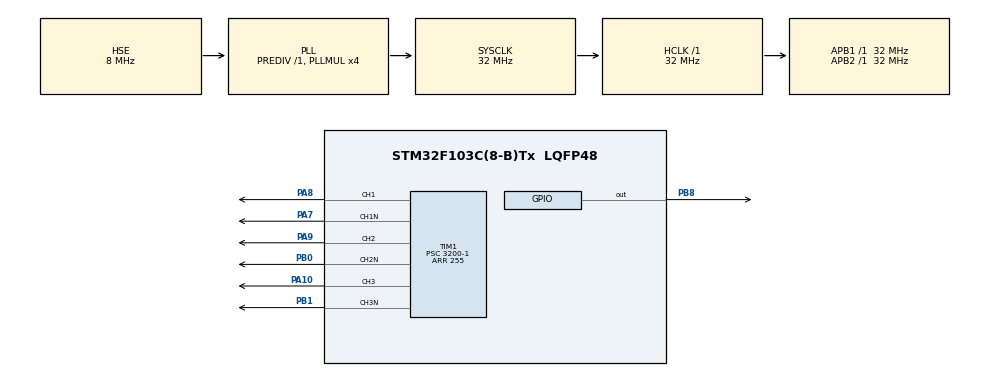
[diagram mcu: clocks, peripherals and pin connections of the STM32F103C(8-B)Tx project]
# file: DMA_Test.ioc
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Dma.Request0=TIM3_CH4/UP
Dma.Request1=TIM1_UP
Dma.TIM1_UP.1.Direction=DMA_PERIPH_TO_MEMORY
Dma.TIM1_UP.1.Instance=DMA1_Channel5
Dma.TIM1_UP.1.MemDataAlignment=DMA_MDATAALIGN_HALFWORD
Dma.TIM1_UP.1.MemInc=DMA_MINC_ENABLE
Dma.TIM1_UP.1.Mode=DMA_NORMAL
Dma.TIM1_UP.1.PeriphDataAlignment=DMA_PDATAALIGN_HALFWORD
Dma.TIM1_UP.1.PeriphInc=DMA_PINC_DISABLE
Dma.TIM1_UP.1.Priority=DMA_PRIORITY_LOW
Dma.TIM3_CH4/UP.0.Direction=DMA_MEMORY_TO_PERIPH
Dma.TIM3_CH4/UP.0.Instance=DMA1_Channel3
Dma.TIM3_CH4/UP.0.MemDataAlignment=DMA_MDATAALIGN_BYTE
Dma.TIM3_CH4/UP.0.MemInc=DMA_MINC_ENABLE
Dma.TIM3_CH4/UP.0.Mode=DMA_CIRCULAR
Dma.TIM3_CH4/UP.0.PeriphDataAlignment=DMA_PDATAALIGN_HALFWORD
Dma.TIM3_CH4/UP.0.PeriphInc=DMA_PINC_DISABLE
Dma.TIM3_CH4/UP.0.Priority=DMA_PRIORITY_VERY_HIGH
Mcu.Family=STM32F1
Mcu.Name=STM32F103C(8-B)Tx
Mcu.Package=LQFP48
NVIC.DMA1_Channel3_IRQn=true\:0\:0\:false\:false\:true
NVIC.DMA1_Channel5_IRQn=true\:0\:0\:false\:false\:true
NVIC.PriorityGroup=NVIC_PRIORITYGROUP_4
PA10.Signal=S_TIM1_CH3
PA7.Mode=PWM Generation1 CH1 CH1N
PA7.Signal=TIM1_CH1N
PA8.Signal=S_TIM1_CH1
PA9.Signal=S_TIM1_CH2
PB0.Mode=PWM Generation2 CH2 CH2N
PB0.Signal=TIM1_CH2N
PB1.Mode=PWM Generation3 CH3 CH3N
PB1.Signal=TIM1_CH3N
PB8.Signal=GPIO_Output
PD0-OSC_IN.Mode=HSE-External-Oscillator
PD0-OSC_IN.Signal=RCC_OSC_IN
PD1-OSC_OUT.Mode=HSE-External-Oscillator
PD1-OSC_OUT.Signal=RCC_OSC_OUT
ProjectManager.HeapSize=0x200
ProjectManager.StackSize=0x400
ProjectManager.TargetToolchain=SW4STM32
RCC.AHBFreq_Value=32000000
RCC.APB1Freq_Value=32000000
RCC.APB1TimFreq_Value=32000000
RCC.APB2Freq_Value=32000000
RCC.APB2TimFreq_Value=32000000
RCC.HCLKFreq_Value=32000000
RCC.PLLMUL=RCC_PLL_MUL4
RCC.PLLSourceVirtual=RCC_PLLSOURCE_HSE
RCC.SYSCLKFreq_VALUE=32000000
RCC.SYSCLKSource=RCC_SYSCLKSOURCE_PLLCLK
RCC.USBFreq_Value=32000000
SH.S_TIM1_CH1.0=TIM1_CH1,PWM Generation1 CH1 CH1N
SH.S_TIM1_CH2.0=TIM1_CH2,PWM Generation2 CH2 CH2N
SH.S_TIM1_CH3.0=TIM1_CH3,PWM Generation3 CH3 CH3N
TIM1.Channel-PWM\ Generation1\ CH1\ CH1N=TIM_CHANNEL_1
TIM1.Channel-PWM\ Generation2\ CH2\ CH2N=TIM_CHANNEL_2
TIM1.Channel-PWM\ Generation3\ CH3\ CH3N=TIM_CHANNEL_3
TIM1.Period=255
TIM1.Prescaler=3200-1
TIM3.Period=32
TIM3.Prescaler=1000-1
VP_SYS_VS_ND.Mode=No_Debug
VP_TIM1_VS_ClockSourceINT.Mode=Internal
VP_TIM3_VS_ClockSourceINT.Mode=Internal
board=DMA_Test

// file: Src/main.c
/**
 ******************************************************************************
 * File Name          : main.c
 * Description        : Main program body
 ******************************************************************************
 ** This notice applies to any and all portions of this file
 * that are not between comment pairs USER CODE BEGIN and
 * USER CODE END. Other portions of this file, whether
 * inserted by the user or by software development tools
 * are owned by their respective copyright owners.
 *
 * COPYRIGHT(c) 2017 STMicroelectronics
 *
 * Redistribution and use in source and binary forms, with or without modification,
 * are permitted provided that the following conditions are met:
 *   1. Redistributions of source code must retain the above copyright notice,
 *      this list of conditions and the following disclaimer.
 *   2. Redistributions in binary form must reproduce the above copyright notice,
 *      this list of conditions and the following disclaimer in the documentation
 *      and/or other materials provided with the distribution.
 *   3. Neither the name of STMicroelectronics nor the names of its contributors
 *      may be used to endorse or promote products derived from this software
 *      without specific prior written permission.
 *
 * THIS SOFTWARE IS PROVIDED BY THE COPYRIGHT HOLDERS AND CONTRIBUTORS "AS IS"
 * AND ANY EXPRESS OR IMPLIED WARRANTIES, INCLUDING, BUT NOT LIMITED TO, THE
 * IMPLIED WARRANTIES OF MERCHANTABILITY AND FITNESS FOR A PARTICULAR PURPOSE ARE
 * DISCLAIMED. IN NO EVENT SHALL THE COPYRIGHT HOLDER OR CONTRIBUTORS BE LIABLE
 * FOR ANY DIRECT, INDIRECT, INCIDENTAL, SPECIAL, EXEMPLARY, OR CONSEQUENTIAL
 * DAMAGES (INCLUDING, BUT NOT LIMITED TO, PROCUREMENT OF SUBSTITUTE GOODS OR
 * SERVICES; LOSS OF USE, DATA, OR PROFITS; OR BUSINESS INTERRUPTION) HOWEVER
 * CAUSED AND ON ANY THEORY OF LIABILITY, WHETHER IN CONTRACT, STRICT LIABILITY,
 * OR TORT (INCLUDING NEGLIGENCE OR OTHERWISE) ARISING IN ANY WAY OUT OF THE USE
 * OF THIS SOFTWARE, EVEN IF ADVISED OF THE POSSIBILITY OF SUCH DAMAGE.
 *
 ******************************************************************************
 */
#include "main.h"
#include "stm32f1xx_hal.h"

/* USER CODE BEGIN Includes */
#define SINTBLSTEPS 360

unsigned char sintbl[3 * SINTBLSTEPS] = { 0x80, 0xEE, 0x11, 0x82, 0xED, 0x10,
		0x84, 0xEC, 0x0F, 0x86, 0xEA, 0x0E, 0x88, 0xE9, 0x0D, 0x8B, 0xE8, 0x0C,
		0x8D, 0xE7, 0x0B, 0x8F, 0xE5, 0x0A, 0x91, 0xE4, 0x09, 0x94, 0xE3, 0x08,
		0x96, 0xE1, 0x08, 0x98, 0xE0, 0x07, 0x9A, 0xDE, 0x06, 0x9C, 0xDD, 0x06,
		0x9E, 0xDB, 0x05, 0xA1, 0xDA, 0x04, 0xA3, 0xD8, 0x04, 0xA5, 0xD6, 0x03,
		0xA7, 0xD5, 0x03, 0xA9, 0xD3, 0x02, 0xAB, 0xD1, 0x02, 0xAD, 0xD0, 0x02,
		0xAF, 0xCE, 0x01, 0xB1, 0xCC, 0x01, 0xB3, 0xCA, 0x01, 0xB6, 0xC9, 0x00,
		0xB8, 0xC7, 0x00, 0xBA, 0xC5, 0x00, 0xBC, 0xC3, 0x00, 0xBD, 0xC1, 0x00,
		0xBF, 0xBF, 0x00, 0xC1, 0xBD, 0x00, 0xC3, 0xBB, 0x00, 0xC5, 0xB9, 0x00,
		0xC7, 0xB7, 0x00, 0xC9, 0xB5, 0x01, 0xCB, 0xB3, 0x01, 0xCC, 0xB1, 0x01,
		0xCE, 0xAF, 0x01, 0xD0, 0xAD, 0x02, 0xD2, 0xAB, 0x02, 0xD3, 0xA9, 0x02,
		0xD5, 0xA7, 0x03, 0xD7, 0xA5, 0x03, 0xD8, 0xA2, 0x04, 0xDA, 0xA0, 0x04,
		0xDB, 0x9E, 0x05, 0xDD, 0x9C, 0x06, 0xDE, 0x9A, 0x06, 0xE0, 0x98, 0x07,
		0xE1, 0x95, 0x08, 0xE3, 0x93, 0x09, 0xE4, 0x91, 0x09, 0xE6, 0x8F, 0x0A,
		0xE7, 0x8C, 0x0B, 0xE8, 0x8A, 0x0C, 0xE9, 0x88, 0x0D, 0xEB, 0x86, 0x0E,
		0xEC, 0x84, 0x0F, 0xED, 0x81, 0x10, 0xEE, 0x7F, 0x11, 0xEF, 0x7D, 0x12,
		0xF0, 0x7B, 0x14, 0xF1, 0x78, 0x15, 0xF2, 0x76, 0x16, 0xF3, 0x74, 0x17,
		0xF4, 0x72, 0x19, 0xF5, 0x70, 0x1A, 0xF6, 0x6D, 0x1B, 0xF7, 0x6B, 0x1D,
		0xF7, 0x69, 0x1E, 0xF8, 0x67, 0x20, 0xF9, 0x65, 0x21, 0xFA, 0x62, 0x23,
		0xFA, 0x60, 0x24, 0xFB, 0x5E, 0x26, 0xFB, 0x5C, 0x27, 0xFC, 0x5A, 0x29,
		0xFC, 0x58, 0x2B, 0xFD, 0x56, 0x2C, 0xFD, 0x53, 0x2E, 0xFE, 0x51, 0x30,
		0xFE, 0x4F, 0x31, 0xFE, 0x4D, 0x33, 0xFE, 0x4B, 0x35, 0xFF, 0x49, 0x37,
		0xFF, 0x47, 0x39, 0xFF, 0x45, 0x3B, 0xFF, 0x43, 0x3C, 0xFF, 0x41, 0x3E,
		0xFF, 0x3F, 0x40, 0xFF, 0x3D, 0x42, 0xFF, 0x3B, 0x44, 0xFF, 0x3A, 0x46,
		0xFF, 0x38, 0x48, 0xFE, 0x36, 0x4A, 0xFE, 0x34, 0x4C, 0xFE, 0x32, 0x4E,
		0xFE, 0x31, 0x50, 0xFD, 0x2F, 0x52, 0xFD, 0x2D, 0x54, 0xFD, 0x2B, 0x57,
		0xFC, 0x2A, 0x59, 0xFC, 0x28, 0x5B, 0xFB, 0x26, 0x5D, 0xFA, 0x25, 0x5F,
		0xFA, 0x23, 0x61, 0xF9, 0x22, 0x63, 0xF9, 0x20, 0x66, 0xF8, 0x1F, 0x68,
		0xF7, 0x1D, 0x6A, 0xF6, 0x1C, 0x6C, 0xF5, 0x1B, 0x6E, 0xF5, 0x19, 0x71,
		0xF4, 0x18, 0x73, 0xF3, 0x17, 0x75, 0xF2, 0x15, 0x77, 0xF1, 0x14, 0x7A,
		0xF0, 0x13, 0x7C, 0xEF, 0x12, 0x7E, 0xEE, 0x11, 0x80, 0xEC, 0x10, 0x82,
		0xEB, 0x0F, 0x85, 0xEA, 0x0E, 0x87, 0xE9, 0x0D, 0x89, 0xE7, 0x0C, 0x8B,
		0xE6, 0x0B, 0x8E, 0xE5, 0x0A, 0x90, 0xE3, 0x09, 0x92, 0xE2, 0x08, 0x94,
		0xE1, 0x07, 0x96, 0xDF, 0x07, 0x99, 0xDE, 0x06, 0x9B, 0xDC, 0x05, 0x9D,
		0xDB, 0x05, 0x9F, 0xD9, 0x04, 0xA1, 0xD7, 0x04, 0xA3, 0xD6, 0x03, 0xA6,
		0xD4, 0x03, 0xA8, 0xD2, 0x02, 0xAA, 0xD1, 0x02, 0xAC, 0xCF, 0x01, 0xAE,
		0xCD, 0x01, 0xB0, 0xCC, 0x01, 0xB2, 0xCA, 0x01, 0xB4, 0xC8, 0x00, 0xB6,
		0xC6, 0x00, 0xB8, 0xC4, 0x00, 0xBA, 0xC2, 0x00, 0xBC, 0xC0, 0x00, 0xBE,
		0xBE, 0x00, 0xC0, 0xBC, 0x00, 0xC2, 0xBB, 0x00, 0xC4, 0xB9, 0x00, 0xC6,
		0xB7, 0x00, 0xC8, 0xB5, 0x01, 0xC9, 0xB2, 0x01, 0xCB, 0xB0, 0x01, 0xCD,
		0xAE, 0x01, 0xCF, 0xAC, 0x02, 0xD1, 0xAA, 0x02, 0xD2, 0xA8, 0x03, 0xD4,
		0xA6, 0x03, 0xD6, 0xA4, 0x03, 0xD7, 0xA2, 0x04, 0xD9, 0xA0, 0x05, 0xDA,
		0x9D, 0x05, 0xDC, 0x9B, 0x06, 0xDD, 0x99, 0x07, 0xDF, 0x97, 0x07, 0xE0,
		0x95, 0x08, 0xE2, 0x92, 0x09, 0xE3, 0x90, 0x0A, 0xE5, 0x8E, 0x0B, 0xE6,
		0x8C, 0x0B, 0xE7, 0x8A, 0x0C, 0xE9, 0x87, 0x0D, 0xEA, 0x85, 0x0E, 0xEB,
		0x83, 0x0F, 0xEC, 0x81, 0x11, 0xED, 0x7E, 0x12, 0xEE, 0x7C, 0x13, 0xF0,
		0x7A, 0x14, 0xF1, 0x78, 0x15, 0xF2, 0x75, 0x16, 0xF3, 0x73, 0x18, 0xF4,
		0x71, 0x19, 0xF4, 0x6F, 0x1A, 0xF5, 0x6D, 0x1C, 0xF6, 0x6A, 0x1D, 0xF7,
		0x68, 0x1F, 0xF8, 0x66, 0x20, 0xF8, 0x64, 0x22, 0xF9, 0x62, 0x23, 0xFA,
		0x5F, 0x25, 0xFA, 0x5D, 0x26, 0xFB, 0x5B, 0x28, 0xFC, 0x59, 0x29, 0xFC,
		0x57, 0x2B, 0xFC, 0x55, 0x2D, 0xFD, 0x53, 0x2E, 0xFD, 0x51, 0x30, 0xFE,
		0x4F, 0x32, 0xFE, 0x4D, 0x34, 0xFE, 0x4A, 0x36, 0xFE, 0x48, 0x37, 0xFF,
		0x46, 0x39, 0xFF, 0x44, 0x3B, 0xFF, 0x43, 0x3D, 0xFF, 0x41, 0x3F, 0xFF,
		0x3F, 0x41, 0xFF, 0x3D, 0x43, 0xFF, 0x3B, 0x45, 0xFF, 0x39, 0x47, 0xFF,
		0x37, 0x49, 0xFF, 0x35, 0x4B, 0xFE, 0x33, 0x4D, 0xFE, 0x32, 0x4F, 0xFE,
		0x30, 0x51, 0xFE, 0x2E, 0x53, 0xFD, 0x2D, 0x55, 0xFD, 0x2B, 0x57, 0xFC,
		0x29, 0x59, 0xFC, 0x28, 0x5C, 0xFB, 0x26, 0x5E, 0xFB, 0x24, 0x60, 0xFA,
		0x23, 0x62, 0xFA, 0x21, 0x64, 0xF9, 0x20, 0x66, 0xF8, 0x1E, 0x69, 0xF8,
		0x1D, 0x6B, 0xF7, 0x1C, 0x6D, 0xF6, 0x1A, 0x6F, 0xF5, 0x19, 0x71, 0xF4,
		0x18, 0x74, 0xF3, 0x16, 0x76, 0xF2, 0x15, 0x78, 0xF1, 0x14, 0x7A, 0xF0,
		0x13, 0x7D, 0xEF, 0x11, 0x7F, 0xEE, 0x10, 0x81, 0xED, 0x0F, 0x83, 0xEC,
		0x0E, 0x85, 0xEB, 0x0D, 0x88, 0xEA, 0x0C, 0x8A, 0xE8, 0x0B, 0x8C, 0xE7,
		0x0A, 0x8E, 0xE6, 0x0A, 0x91, 0xE4, 0x09, 0x93, 0xE3, 0x08, 0x95, 0xE2,
		0x07, 0x97, 0xE0, 0x06, 0x99, 0xDF, 0x06, 0x9C, 0xDD, 0x05, 0x9E, 0xDC,
		0x05, 0xA0, 0xDA, 0x04, 0xA2, 0xD9, 0x03, 0xA4, 0xD7, 0x03, 0xA6, 0xD5,
		0x02, 0xA8, 0xD4, 0x02, 0xAB, 0xD2, 0x02, 0xAD, 0xD0, 0x01, 0xAF, 0xCE,
		0x01, 0xB1, 0xCD, 0x01, 0xB3, 0xCB, 0x01, 0xB5, 0xC9, 0x00, 0xB7, 0xC7,
		0x00, 0xB9, 0xC5, 0x00, 0xBB, 0xC4, 0x00, 0xBD, 0xC2, 0x00, 0xBF, 0xC0,
		0x00, 0xC1, 0xBE, 0x00, 0xC3, 0xBC, 0x00, 0xC4, 0xBA, 0x00, 0xC6, 0xB8,
		0x00, 0xC8, 0xB6, 0x01, 0xCA, 0xB4, 0x01, 0xCC, 0xB2, 0x01, 0xCE, 0xB0,
		0x01, 0xCF, 0xAE, 0x02, 0xD1, 0xAC, 0x02, 0xD3, 0xA9, 0x03, 0xD4, 0xA7,
		0x03, 0xD6, 0xA5, 0x04, 0xD8, 0xA3, 0x04, 0xD9, 0xA1, 0x05, 0xDB, 0x9F,
		0x05, 0xDC, 0x9D, 0x06, 0xDE, 0x9A, 0x07, 0xDF, 0x98, 0x08, 0xE1, 0x96,
		0x08, 0xE2, 0x94, 0x09, 0xE4, 0x92, 0x0A, 0xE5, 0x8F, 0x0B, 0xE6, 0x8D,
		0x0C, 0xE8, 0x8B, 0x0D, 0xE9, 0x89, 0x0E, 0xEA, 0x87, 0x0F, 0xEB, 0x84,
		0x10, 0xED, 0x82, 0x11, 0xEE, 0x80, 0x12, 0xEF, 0x7E, 0x13, 0xF0, 0x7B,
		0x14, 0xF1, 0x79, 0x16, 0xF2, 0x77, 0x17, 0xF3, 0x75, 0x18, 0xF4, 0x73,
		0x19, 0xF5, 0x70, 0x1B, 0xF6, 0x6E, 0x1C, 0xF6, 0x6C, 0x1E, 0xF7, 0x6A,
		0x1F, 0xF8, 0x67, 0x21, 0xF9, 0x65, 0x22, 0xF9, 0x63, 0x24, 0xFA, 0x61,
		0x25, 0xFB, 0x5F, 0x27, 0xFB, 0x5D, 0x28, 0xFC, 0x5A, 0x2A, 0xFC, 0x58,
		0x2C, 0xFD, 0x56, 0x2D, 0xFD, 0x54, 0x2F, 0xFD, 0x52, 0x31, 0xFE, 0x50,
		0x33, 0xFE, 0x4E, 0x34, 0xFE, 0x4C, 0x36, 0xFE, 0x4A, 0x38, 0xFF, 0x48,
		0x3A, 0xFF, 0x46, 0x3C, 0xFF, 0x44, 0x3E, 0xFF, 0x42, 0x40, 0xFF, 0x40,
		0x42, 0xFF, 0x3E, 0x43, 0xFF, 0x3C, 0x45, 0xFF, 0x3A, 0x47, 0xFF, 0x38,
		0x49, 0xFF, 0x36, 0x4C, 0xFE, 0x35, 0x4E, 0xFE, 0x33, 0x50, 0xFE, 0x31,
		0x52, 0xFD, 0x2F, 0x54, 0xFD, 0x2E, 0x56, 0xFD, 0x2C, 0x58, 0xFC, 0x2A,
		0x5A, 0xFC, 0x29, 0x5C, 0xFB, 0x27, 0x5E, 0xFB, 0x25, 0x61, 0xFA, 0x24,
		0x63, 0xF9, 0x22, 0x65, 0xF9, 0x21, 0x67, 0xF8, 0x1F, 0x69, 0xF7, 0x1E,
		0x6B, 0xF7, 0x1C, 0x6E, 0xF6, 0x1B, 0x70, 0xF5, 0x1A, 0x72, 0xF4, 0x18,
		0x74, 0xF3, 0x17, 0x77, 0xF2, 0x16, 0x79, 0xF1, 0x15, 0x7B, 0xF0, 0x13,
		0x7D, 0xEF, 0x12, 0x7F, 0xEE, 0x11 };

/* USER CODE END Includes */

TIM_HandleTypeDef htim1;
TIM_HandleTypeDef htim3;
DMA_HandleTypeDef hdma_tim1_up;
DMA_HandleTypeDef hdma_tim3_ch4_up;

/* USER CODE BEGIN PV */
/* Private variables ---------------------------------------------------------*/

/* USER CODE END PV */

void SystemClock_Config(void);
static void MX_GPIO_Init(void);
static void MX_DMA_Init(void);
static void MX_TIM1_Init(void);
static void MX_TIM3_Init(void);
void HAL_TIM_MspPostInit(TIM_HandleTypeDef *htim);

/* USER CODE BEGIN PFP */
/* Private function prototypes -----------------------------------------------*/

/* USER CODE END PFP */

/* USER CODE BEGIN 0 */

/**
 * @brief  Configure the DMA Burst to transfer Data from the memory to the TIM peripheral
 * @param  htim : TIM handle
 * @param  BurstBaseAddress : TIM Base address from where the DMA will start the Data write
 *         This parameter can be one of the following values:
 *            @arg TIM_DMABASE_CR1
 *            @arg TIM_DMABASE_CR2
 *            @arg TIM_DMABASE_SMCR
 *            @arg TIM_DMABASE_DIER
 *            @arg TIM_DMABASE_SR
 *            @arg TIM_DMABASE_EGR
 *            @arg TIM_DMABASE_CCMR1
 *            @arg TIM_DMABASE_CCMR2
 *            @arg TIM_DMABASE_CCER
 *            @arg TIM_DMABASE_CNT
 *            @arg TIM_DMABASE_PSC
 *            @arg TIM_DMABASE_ARR
 *            @arg TIM_DMABASE_RCR
 *            @arg TIM_DMABASE_CCR1
 *            @arg TIM_DMABASE_CCR2
 *            @arg TIM_DMABASE_CCR3
 *            @arg TIM_DMABASE_CCR4
 *            @arg TIM_DMABASE_BDTR
 *            @arg TIM_DMABASE_DCR
 * @param  BurstRequestSrc : TIM DMA Request sources
 *         This parameter can be one of the following values:
 *            @arg TIM_DMA_UPDATE: TIM update Interrupt source
 *            @arg TIM_DMA_CC1: TIM Capture Compare 1 DMA source
 *            @arg TIM_DMA_CC2: TIM Capture Compare 2 DMA source
 *            @arg TIM_DMA_CC3: TIM Capture Compare 3 DMA source
 *            @arg TIM_DMA_CC4: TIM Capture Compare 4 DMA source
 *            @arg TIM_DMA_COM: TIM Commutation DMA source
 *            @arg TIM_DMA_TRIGGER: TIM Trigger DMA source
 * @param  BurstBuffer : The Buffer address.
 * @param  BurstLength : DMA Burst length. This parameter can be one value
 *         between: TIM_DMABURSTLENGTH_1TRANSFER and TIM_DMABURSTLENGTH_18TRANSFERS.
 * @retval HAL status
 */
extern void TIM_DMAError(DMA_HandleTypeDef *hdma);
void TIM_DMAPeriodElapsedCplt(DMA_HandleTypeDef *hdma) {
	TIM_HandleTypeDef* htim =
			(TIM_HandleTypeDef*) ((DMA_HandleTypeDef*) hdma)->Parent;

	htim->State = HAL_TIM_STATE_READY;

	HAL_TIM_PeriodElapsedCallback(htim);
}
void TIM_DMATriggerCplt(DMA_HandleTypeDef *hdma) {

	TIM_HandleTypeDef* htim =
			(TIM_HandleTypeDef*) ((DMA_HandleTypeDef*) hdma)->Parent;

	htim->State = HAL_TIM_STATE_READY;

	HAL_TIM_TriggerCallback(htim);
}

HAL_StatusTypeDef HAL_TIM_DMABurst_WriteStart_2(TIM_HandleTypeDef *htim,
		TIM_HandleTypeDef *htim_trg, uint32_t BurstBaseAddress,
		uint32_t BurstRequestSrc, uint32_t* BurstBuffer, uint32_t BurstLength,
		uint16_t BufferLength) {
	/* Check the parameters */
	assert_param(IS_TIM_DMABURST_INSTANCE(htim->Instance));
	assert_param(IS_TIM_DMABURST_INSTANCE(htim_trg->Instance));
	assert_param(IS_TIM_DMA_BASE(BurstBaseAddress));
	assert_param(IS_TIM_DMA_SOURCE(BurstRequestSrc));
	assert_param(IS_TIM_DMA_LENGTH(BurstLength));

	if ((htim->State == HAL_TIM_STATE_BUSY)) {
		return HAL_BUSY;
	} else if ((htim->State == HAL_TIM_STATE_READY)) {
		if ((BurstBuffer == 0U) && (BurstLength > 0U)) {
			return HAL_ERROR;
		} else {
			htim->State = HAL_TIM_STATE_BUSY;
		}
	}
	switch (BurstRequestSrc) {
	case TIM_DMA_UPDATE: {
		/* Set the DMA Period elapsed callback */
		htim_trg->hdma[TIM_DMA_ID_UPDATE]->XferCpltCallback =
				TIM_DMAPeriodElapsedCplt;

		/* Set the DMA error callback */
		htim_trg->hdma[TIM_DMA_ID_UPDATE]->XferErrorCallback = TIM_DMAError;

		/* Enable the DMA channel */
		HAL_DMA_Start_IT(htim_trg->hdma[TIM_DMA_ID_UPDATE],
				(uint32_t) BurstBuffer, (uint32_t) &htim->Instance->DMAR, /*((BurstLength) >> 8U) + 1U*/
				BufferLength);
	}
		break;
	case TIM_DMA_CC1: {
		/* Set the DMA Period elapsed callback */
		htim->hdma[TIM_DMA_ID_CC1]->XferCpltCallback = TIM_DMADelayPulseCplt;

		/* Set the DMA error callback */
		htim->hdma[TIM_DMA_ID_CC1]->XferErrorCallback = TIM_DMAError;

		/* Enable the DMA channel */
		HAL_DMA_Start_IT(htim->hdma[TIM_DMA_ID_CC1], (uint32_t) BurstBuffer,
				(uint32_t) &htim->Instance->DMAR, ((BurstLength) >> 8U) + 1U);
	}
		break;
	case TIM_DMA_CC2: {
		/* Set the DMA Period elapsed callback */
		htim->hdma[TIM_DMA_ID_CC2]->XferCpltCallback = TIM_DMADelayPulseCplt;

		/* Set the DMA error callback */
		htim->hdma[TIM_DMA_ID_CC2]->XferErrorCallback = TIM_DMAError;

		/* Enable the DMA channel */
		HAL_DMA_Start_IT(htim->hdma[TIM_DMA_ID_CC2], (uint32_t) BurstBuffer,
				(uint32_t) &htim->Instance->DMAR, ((BurstLength) >> 8U) + 1U);
	}
		break;
	case TIM_DMA_CC3: {
		/* Set the DMA Period elapsed callback */
		htim->hdma[TIM_DMA_ID_CC3]->XferCpltCallback = TIM_DMADelayPulseCplt;

		/* Set the DMA error callback */
		htim->hdma[TIM_DMA_ID_CC3]->XferErrorCallback = TIM_DMAError;

		/* Enable the DMA channel */
		HAL_DMA_Start_IT(htim->hdma[TIM_DMA_ID_CC3], (uint32_t) BurstBuffer,
				(uint32_t) &htim->Instance->DMAR, ((BurstLength) >> 8U) + 1U);
	}
		break;
	case TIM_DMA_CC4: {
		/* Set the DMA Period elapsed callback */
		htim->hdma[TIM_DMA_ID_CC4]->XferCpltCallback = TIM_DMADelayPulseCplt;

		/* Set the DMA error callback */
		htim->hdma[TIM_DMA_ID_CC4]->XferErrorCallback = TIM_DMAError;

		/* Enable the DMA channel */
		HAL_DMA_Start_IT(htim->hdma[TIM_DMA_ID_CC4], (uint32_t) BurstBuffer,
				(uint32_t) &htim->Instance->DMAR, ((BurstLength) >> 8U) + 1U);
	}
		break;
	case TIM_DMA_COM: {
		/* Set the DMA Period elapsed callback */
		htim->hdma[TIM_DMA_ID_COMMUTATION]->XferCpltCallback =
				TIMEx_DMACommutationCplt;

		/* Set the DMA error callback */
		htim->hdma[TIM_DMA_ID_COMMUTATION]->XferErrorCallback = TIM_DMAError;

		/* Enable the DMA channel */
		HAL_DMA_Start_IT(htim->hdma[TIM_DMA_ID_COMMUTATION],
				(uint32_t) BurstBuffer, (uint32_t) &htim->Instance->DMAR,
				((BurstLength) >> 8U) + 1U);
	}
		break;
	case TIM_DMA_TRIGGER: {
		/* Set the DMA Period elapsed callback */
		htim->hdma[TIM_DMA_ID_TRIGGER]->XferCpltCallback = TIM_DMATriggerCplt;

		/* Set the DMA error callback */
		htim->hdma[TIM_DMA_ID_TRIGGER]->XferErrorCallback = TIM_DMAError;

		/* Enable the DMA channel */
		HAL_DMA_Start_IT(htim->hdma[TIM_DMA_ID_TRIGGER], (uint32_t) BurstBuffer,
				(uint32_t) &htim->Instance->DMAR, ((BurstLength) >> 8U) + 1U);
	}
		break;
	default:
		break;
	}
	/* configure the DMA Burst Mode */
	htim->Instance->DCR = BurstBaseAddress | BurstLength;

	/* Enable the TIM DMA Request */
	__HAL_TIM_ENABLE_DMA(htim_trg, BurstRequestSrc);

	htim->State = HAL_TIM_STATE_READY;

	/* Return function status */
	return HAL_OK;
}

/* USER CODE END 0 */

int main(void) {

	/* MCU Configuration----------------------------------------------------------*/

	/* Reset of all peripherals, Initializes the Flash interface and the Systick. */
	HAL_Init();

	/* Configure the system clock */
	SystemClock_Config();

	/* Initialize all configured peripherals */
	MX_GPIO_Init();
	MX_DMA_Init();
	MX_TIM1_Init();
	MX_TIM3_Init();

	/* USER CODE BEGIN 2 */
	HAL_TIM_Base_Start(&htim1);
//	HAL_TIM_DMABurst_WriteStart(&htim1, TIM_DMABASE_CCR1, TIM_DMA_UPDATE,
//			(uint32_t *) sintbl, TIM_DMABURSTLENGTH_3TRANSFERS);

//	HAL_TIM_Base_Start(&htim1);
	HAL_TIM_Base_Start(&htim3);
	HAL_TIM_DMABurst_WriteStart_2(&htim1, &htim3, TIM_DMABASE_CCR1,
	TIM_DMA_UPDATE, sintbl, TIM_DMABURSTLENGTH_3TRANSFERS, 3 * SINTBLSTEPS);
	HAL_Delay(1000);
	HAL_TIM_PWM_Start(&htim1, TIM_CHANNEL_1);
	__HAL_TIM_SET_COMPARE(&htim1, TIM_CHANNEL_1, 128);
	HAL_TIM_PWM_Start(&htim1, TIM_CHANNEL_2);
	__HAL_TIM_SET_COMPARE(&htim1, TIM_CHANNEL_2, 128);
	HAL_TIM_PWM_Start(&htim1, TIM_CHANNEL_3);
	__HAL_TIM_SET_COMPARE(&htim1, TIM_CHANNEL_3, 128);

	/* USER CODE END 2 */

	/* Infinite loop */
	/* USER CODE BEGIN WHILE */
	__HAL_RCC_GPIOB_CLK_ENABLE()
	;
	GPIO_InitTypeDef gpiodef;
	gpiodef.Mode = GPIO_MODE_OUTPUT_PP;
	gpiodef.Pin = GPIO_PIN_8;
	gpiodef.Pull = GPIO_NOPULL;
	gpiodef.Speed = GPIO_SPEED_FREQ_HIGH;
	HAL_GPIO_Init(GPIOB, &gpiodef);

	while (1) {
		/* USER CODE END WHILE */
		HAL_GPIO_TogglePin(GPIOB, GPIO_PIN_8);
		HAL_Delay(400);
	}

}

/** System Clock Configuration
 */
void SystemClock_Config(void) {

	RCC_OscInitTypeDef RCC_OscInitStruct;
	RCC_ClkInitTypeDef RCC_ClkInitStruct;

	/**Initializes the CPU, AHB and APB busses clocks
	 */
	RCC_OscInitStruct.OscillatorType = RCC_OSCILLATORTYPE_HSE;
	RCC_OscInitStruct.HSEState = RCC_HSE_ON;
	RCC_OscInitStruct.HSEPredivValue = RCC_HSE_PREDIV_DIV1;
	RCC_OscInitStruct.HSIState = RCC_HSI_ON;
	RCC_OscInitStruct.PLL.PLLState = RCC_PLL_ON;
	RCC_OscInitStruct.PLL.PLLSource = RCC_PLLSOURCE_HSE;
	RCC_OscInitStruct.PLL.PLLMUL = RCC_PLL_MUL4;
	if (HAL_RCC_OscConfig(&RCC_OscInitStruct) != HAL_OK) {
		_Error_Handler(__FILE__, __LINE__);
	}

	/**Initializes the CPU, AHB and APB busses clocks
	 */
	RCC_ClkInitStruct.ClockType = RCC_CLOCKTYPE_HCLK | RCC_CLOCKTYPE_SYSCLK
			| RCC_CLOCKTYPE_PCLK1 | RCC_CLOCKTYPE_PCLK2;
	RCC_ClkInitStruct.SYSCLKSource = RCC_SYSCLKSOURCE_PLLCLK;
	RCC_ClkInitStruct.AHBCLKDivider = RCC_SYSCLK_DIV1;
	RCC_ClkInitStruct.APB1CLKDivider = RCC_HCLK_DIV1;
	RCC_ClkInitStruct.APB2CLKDivider = RCC_HCLK_DIV1;

	if (HAL_RCC_ClockConfig(&RCC_ClkInitStruct, FLASH_LATENCY_1) != HAL_OK) {
		_Error_Handler(__FILE__, __LINE__);
	}

	/**Configure the Systick interrupt time
	 */
	HAL_SYSTICK_Config(HAL_RCC_GetHCLKFreq() / 1000);

	/**Configure the Systick
	 */
	HAL_SYSTICK_CLKSourceConfig(SYSTICK_CLKSOURCE_HCLK);

	/* SysTick_IRQn interrupt configuration */
	HAL_NVIC_SetPriority(SysTick_IRQn, 0, 0);
}

/* TIM1 init function */
static void MX_TIM1_Init(void) {

	TIM_ClockConfigTypeDef sClockSourceConfig;
	TIM_MasterConfigTypeDef sMasterConfig;
	TIM_OC_InitTypeDef sConfigOC;
	TIM_BreakDeadTimeConfigTypeDef sBreakDeadTimeConfig;

	htim1.Instance = TIM1;
	htim1.Init.Prescaler = 3200 - 1;
	htim1.Init.CounterMode = TIM_COUNTERMODE_UP;
	htim1.Init.Period = 255;
	htim1.Init.ClockDivision = TIM_CLOCKDIVISION_DIV1;
	htim1.Init.RepetitionCounter = 0;
	htim1.Init.AutoReloadPreload = TIM_AUTORELOAD_PRELOAD_DISABLE;
	if (HAL_TIM_Base_Init(&htim1) != HAL_OK) {
		_Error_Handler(__FILE__, __LINE__);
	}

	sClockSourceConfig.ClockSource = TIM_CLOCKSOURCE_INTERNAL;
	if (HAL_TIM_ConfigClockSource(&htim1, &sClockSourceConfig) != HAL_OK) {
		_Error_Handler(__FILE__, __LINE__);
	}

	if (HAL_TIM_PWM_Init(&htim1) != HAL_OK) {
		_Error_Handler(__FILE__, __LINE__);
	}

	sMasterConfig.MasterOutputTrigger = TIM_TRGO_RESET;
	sMasterConfig.MasterSlaveMode = TIM_MASTERSLAVEMODE_DISABLE;
	if (HAL_TIMEx_MasterConfigSynchronization(&htim1, &sMasterConfig)
			!= HAL_OK) {
		_Error_Handler(__FILE__, __LINE__);
	}

	sConfigOC.OCMode = TIM_OCMODE_PWM1;
	sConfigOC.Pulse = 0;
	sConfigOC.OCPolarity = TIM_OCPOLARITY_HIGH;
	sConfigOC.OCNPolarity = TIM_OCNPOLARITY_HIGH;
	sConfigOC.OCFastMode = TIM_OCFAST_DISABLE;
	sConfigOC.OCIdleState = TIM_OCIDLESTATE_RESET;
	sConfigOC.OCNIdleState = TIM_OCNIDLESTATE_RESET;
	if (HAL_TIM_PWM_ConfigChannel(&htim1, &sConfigOC, TIM_CHANNEL_1)
			!= HAL_OK) {
		_Error_Handler(__FILE__, __LINE__);
	}

	if (HAL_TIM_PWM_ConfigChannel(&htim1, &sConfigOC, TIM_CHANNEL_2)
			!= HAL_OK) {
		_Error_Handler(__FILE__, __LINE__);
	}

	if (HAL_TIM_PWM_ConfigChannel(&htim1, &sConfigOC, TIM_CHANNEL_3)
			!= HAL_OK) {
		_Error_Handler(__FILE__, __LINE__);
	}

	sBreakDeadTimeConfig.OffStateRunMode = TIM_OSSR_DISABLE;
	sBreakDeadTimeConfig.OffStateIDLEMode = TIM_OSSI_DISABLE;
	sBreakDeadTimeConfig.LockLevel = TIM_LOCKLEVEL_OFF;
	sBreakDeadTimeConfig.DeadTime = 0;
	sBreakDeadTimeConfig.BreakState = TIM_BREAK_DISABLE;
	sBreakDeadTimeConfig.BreakPolarity = TIM_BREAKPOLARITY_HIGH;
	sBreakDeadTimeConfig.AutomaticOutput = TIM_AUTOMATICOUTPUT_DISABLE;
	if (HAL_TIMEx_ConfigBreakDeadTime(&htim1, &sBreakDeadTimeConfig)
			!= HAL_OK) {
		_Error_Handler(__FILE__, __LINE__);
	}

	HAL_TIM_MspPostInit(&htim1);

}

/* TIM3 init function */
static void MX_TIM3_Init(void) {

	TIM_ClockConfigTypeDef sClockSourceConfig;
	TIM_MasterConfigTypeDef sMasterConfig;

	htim3.Instance = TIM3;
	htim3.Init.Prescaler = 1000 - 1;
	htim3.Init.CounterMode = TIM_COUNTERMODE_UP;
	htim3.Init.Period = 32;
	htim3.Init.ClockDivision = TIM_CLOCKDIVISION_DIV1;
	htim3.Init.AutoReloadPreload = TIM_AUTORELOAD_PRELOAD_DISABLE;
	if (HAL_TIM_Base_Init(&htim3) != HAL_OK) {
		_Error_Handler(__FILE__, __LINE__);
	}

	sClockSourceConfig.ClockSource = TIM_CLOCKSOURCE_INTERNAL;
	if (HAL_TIM_ConfigClockSource(&htim3, &sClockSourceConfig) != HAL_OK) {
		_Error_Handler(__FILE__, __LINE__);
	}

	sMasterConfig.MasterOutputTrigger = TIM_TRGO_RESET;
	sMasterConfig.MasterSlaveMode = TIM_MASTERSLAVEMODE_DISABLE;
	if (HAL_TIMEx_MasterConfigSynchronization(&htim3, &sMasterConfig)
			!= HAL_OK) {
		_Error_Handler(__FILE__, __LINE__);
	}

}

static void MX_DMA_Init(void) {
	/* DMA controller clock enable */
	__HAL_RCC_DMA1_CLK_ENABLE()
	;

	/* DMA interrupt init */
	/* DMA1_Channel3_IRQn interrupt configuration */
	HAL_NVIC_SetPriority(DMA1_Channel3_IRQn, 0, 0);
	HAL_NVIC_EnableIRQ(DMA1_Channel3_IRQn);
	/* DMA1_Channel5_IRQn interrupt configuration */
	HAL_NVIC_SetPriority(DMA1_Channel5_IRQn, 0, 0);
	HAL_NVIC_EnableIRQ(DMA1_Channel5_IRQn);

}

/** Configure pins as
 * Analog
 * Input
 * Output
 * EVENT_OUT
 * EXTI
 * Free pins are configured automatically as Analog (this feature is enabled through
 * the Code Generation settings)
 */
static void MX_GPIO_Init(void) {

	GPIO_InitTypeDef GPIO_InitStruct;

	/* GPIO Ports Clock Enable */
	__HAL_RCC_GPIOC_CLK_ENABLE()
	;
	__HAL_RCC_GPIOD_CLK_ENABLE()
	;
	__HAL_RCC_GPIOA_CLK_ENABLE()
	;
	__HAL_RCC_GPIOB_CLK_ENABLE()
	;

	/*Configure GPIO pin Output Level */
	HAL_GPIO_WritePin(GPIOB, GPIO_PIN_8, GPIO_PIN_RESET);

	/*Configure GPIO pins : PC13 PC14 PC15 */
	GPIO_InitStruct.Pin = GPIO_PIN_13 | GPIO_PIN_14 | GPIO_PIN_15;
	GPIO_InitStruct.Mode = GPIO_MODE_ANALOG;
	HAL_GPIO_Init(GPIOC, &GPIO_InitStruct);

	/*Configure GPIO pins : PA0 PA1 PA2 PA3
	 PA4 PA5 PA6 PA11
	 PA12 PA13 PA14 PA15 */
	GPIO_InitStruct.Pin = GPIO_PIN_0 | GPIO_PIN_1 | GPIO_PIN_2 | GPIO_PIN_3
			| GPIO_PIN_4 | GPIO_PIN_5 | GPIO_PIN_6 | GPIO_PIN_11 | GPIO_PIN_12
			| GPIO_PIN_13 | GPIO_PIN_14 | GPIO_PIN_15;
	GPIO_InitStruct.Mode = GPIO_MODE_ANALOG;
	HAL_GPIO_Init(GPIOA, &GPIO_InitStruct);

	/*Configure GPIO pins : PB2 PB10 PB11 PB12
	 PB13 PB14 PB15 PB3
	 PB4 PB5 PB6 PB7
	 PB9 */
	GPIO_InitStruct.Pin = GPIO_PIN_2 | GPIO_PIN_10 | GPIO_PIN_11 | GPIO_PIN_12
			| GPIO_PIN_13 | GPIO_PIN_14 | GPIO_PIN_15 | GPIO_PIN_3 | GPIO_PIN_4
			| GPIO_PIN_5 | GPIO_PIN_6 | GPIO_PIN_7 | GPIO_PIN_9;
	GPIO_InitStruct.Mode = GPIO_MODE_ANALOG;
	HAL_GPIO_Init(GPIOB, &GPIO_InitStruct);

	/*Configure GPIO pin : PB8 */
	GPIO_InitStruct.Pin = GPIO_PIN_8;
	GPIO_InitStruct.Mode = GPIO_MODE_OUTPUT_PP;
	GPIO_InitStruct.Speed = GPIO_SPEED_FREQ_LOW;
	HAL_GPIO_Init(GPIOB, &GPIO_InitStruct);

}

void _Error_Handler(char * file, int line) {
	while (1) {
	}
}

/************************ (C) COPYRIGHT STMicroelectronics *****END OF FILE****/
